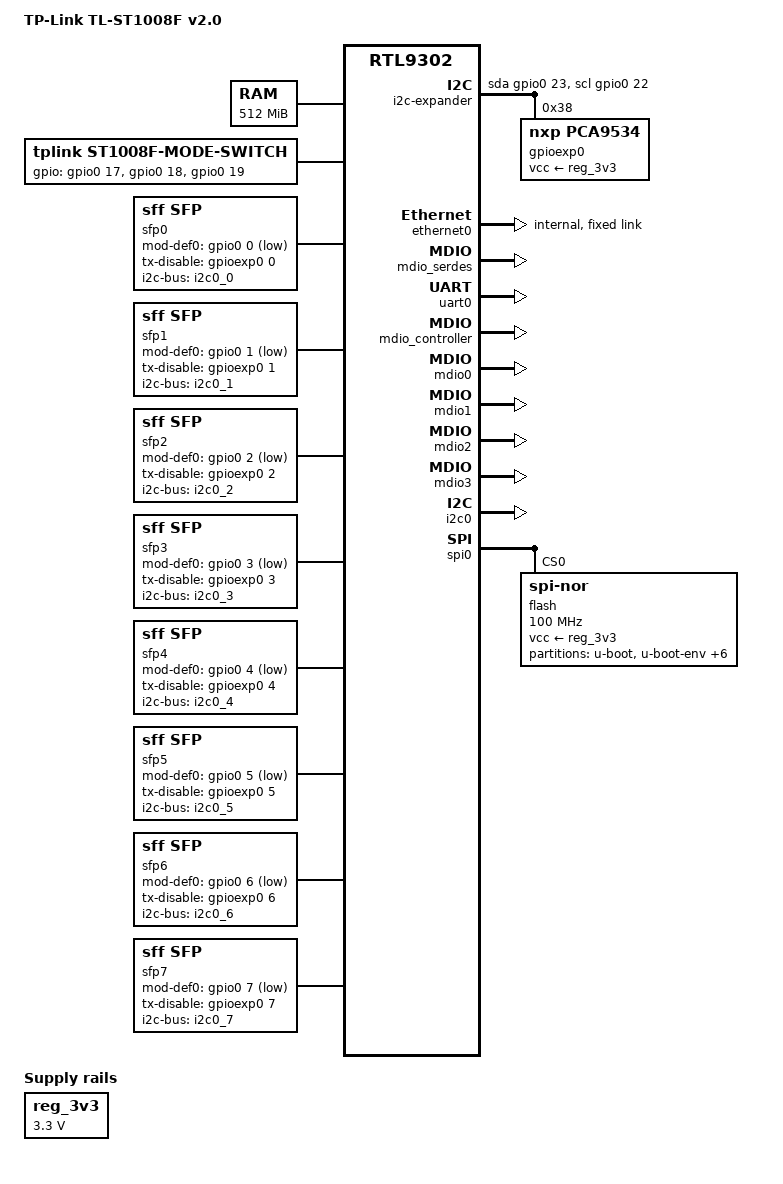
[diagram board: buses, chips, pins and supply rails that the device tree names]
// SPDX-License-Identifier: GPL-2.0-or-later OR BSD-2-Clause
/*
 * TP-Link TL-ST1008F v2.0 (RTL9303) on mainline rtl930x.dtsi (Linux v7.3).
 * Board facts + switch/NIC/PCS/SerDes nodes from OpenWrt rtl9303_tplink_tl-st1008f-v2.dts +
 * rtl930x.dtsi; they bind to the forward-ported OpenWrt drivers (openwrt/patches/300-08..10,
 * docs/MAINLINE-PORT.md). Cage N = lanN = switch port in SWITCH_PORT_SFP below.
 */
/dts-v1/;

#include "rtl930x.dtsi"

#include <dt-bindings/gpio/gpio.h>

/* OpenWrt dts/macros.dtsi LED set bits */
#define RTL93XX_LED_SET_10G	(1 << 0)
#define RTL93XX_LED_SET_2P5G	(1 << 3)
#define RTL93XX_LED_SET_1G	(1 << 5)
#define RTL93XX_LED_SET_100M	(1 << 7)
#define RTL93XX_LED_SET_10M	(1 << 8)
#define RTL93XX_LED_SET_LINK	(1 << 9)
#define RTL93XX_LED_SET_ACT	(1 << 11)

/* u = unit address (hex), p = switch port, l = lanN, s = SerDes, g = sfpN (OpenWrt SWITCH_PORT_SFP) */
#define SWITCH_PORT_SFP(u, p, l, s, g)			\
	port##p: port@##u {				\
		reg = <##p>;				\
		label = #l;				\
		led-set = <0>;				\
		pcs-handle = <&serdes##s 0>;		\
		phy-mode = "1000base-x";		\
		sfp = <&sfp##g>;			\
		managed = "in-band-status";		\
	};

/ {
	compatible = "tplink,tl-st1008f-v2", "realtek,rtl9302-soc";
	model = "TP-Link TL-ST1008F v2.0";

	/* board 3V3 rail (always on); named so spi-nor/pca953x get a real vcc-supply */
	reg_3v3: regulator-3v3 {
		compatible = "regulator-fixed";
		regulator-name = "3v3";
		regulator-min-microvolt = <3300000>;
		regulator-max-microvolt = <3300000>;
		regulator-always-on;
	};

	/* DRAM 256-512 MiB is reached via OCP zone 3 at bus 0x20000000 (OpenWrt 300-02 remap,
	 * HIGHMEM); a HIGHMEM=n kernel drops the second range (#27). */
	memory@0 {
		device_type = "memory";
		reg = <0x00000000 0x10000000>,
		      <0x20000000 0x10000000>;
	};

	/* our U-Boot's boot-attempt record (bootsel.c); st1008f-bootok clears it via /dev/mem (#73) */
	reserved-memory {
		#address-cells = <1>;
		#size-cells = <1>;
		ranges;

		bootrec@e000000 {
			reg = <0x0e000000 0x1000>;
			no-map;
		};
	};

	/* 64 KiB on-chip SRAM, bus address (OpenWrt 838x/839x dtsi use the KSEG0 VA 0x9f000000).
	 * Mapped by the PLR, re-mapped after the highmem remap (300-21). Whole-device gen_pool,
	 * no children: gen_pool_get(dev, NULL) as OpenWrt clk-rtl83xx. no-memory-wc: plain
	 * uncached (KSEG1); the 34Kc ioremap_wc would be uncached-accelerated (#103). */
	sram0: sram@1f000000 {
		compatible = "mmio-sram";
		reg = <0x1f000000 0x10000>;
		#address-cells = <1>;
		#size-cells = <1>;
		ranges = <0 0x1f000000 0x10000>;
		no-memory-wc;
	};

	chosen {
		stdout-path = "serial0:115200n8";
		bootargs = "earlycon";
	};

	/* M1/M2/M3 switch, read raw like stock rtk.ko (openwrt/patches/300-06, #64).
	 * Replaces OpenWrt's gpio-keys on the same pins (one owner per pin).
	 * Children are cage@N, never port@N: rtl83xx walks every "port" node in the tree. */
	mode-switch {
		compatible = "tplink,st1008f-mode-switch";
		gpios = <&gpio0 17 GPIO_ACTIVE_HIGH>, <&gpio0 18 GPIO_ACTIVE_HIGH>,
			<&gpio0 19 GPIO_ACTIVE_HIGH>;
		#address-cells = <1>;
		#size-cells = <0>;

		cage@0 {
			reg = <0>;
			sfp = <&sfp0>;
		};
		cage@1 {
			reg = <1>;
			sfp = <&sfp1>;
		};
		cage@2 {
			reg = <2>;
			sfp = <&sfp2>;
		};
		cage@3 {
			reg = <3>;
			sfp = <&sfp3>;
		};
		cage@4 {
			reg = <4>;
			sfp = <&sfp4>;
		};
		cage@5 {
			reg = <5>;
			sfp = <&sfp5>;
		};
		cage@6 {
			reg = <6>;
			sfp = <&sfp6>;
		};
		cage@7 {
			reg = <7>;
			sfp = <&sfp7>;
		};
	};

	/* TX-disable expander; SCL = GPIO22, SDA = GPIO23. */
	i2c-expander {
		compatible = "i2c-gpio";
		#address-cells = <1>;
		#size-cells = <0>;
		i2c-gpio,delay-us = <2>;
		scl-gpios = <&gpio0 22 (GPIO_ACTIVE_HIGH | GPIO_OPEN_DRAIN)>;
		sda-gpios = <&gpio0 23 (GPIO_ACTIVE_HIGH | GPIO_OPEN_DRAIN)>;

		gpioexp0: gpio@38 {
			compatible = "nxp,pca9534";
			vcc-supply = <&reg_3v3>;
			reg = <0x38>;
			gpio-controller;
			#gpio-cells = <2>;
		};
	};

	/* Cage N+1: MOD-DEF0 = GPIO N (active-low), TX-disable = expander pin N (active-high).
	 * Power: every cage 2000 mW (SFF-8472 max level); OpenWrt's 2.9/1.5/2.0 W split is copied, not measured (#30). */
	sfp0: sfp-p1 {
		compatible = "sff,sfp";
		i2c-bus = <&i2c0_0>;
		mod-def0-gpios = <&gpio0 0 GPIO_ACTIVE_LOW>;
		tx-disable-gpios = <&gpioexp0 0 GPIO_ACTIVE_HIGH>;
		maximum-power-milliwatt = <2000>;
	};

	sfp1: sfp-p2 {
		compatible = "sff,sfp";
		i2c-bus = <&i2c0_1>;
		mod-def0-gpios = <&gpio0 1 GPIO_ACTIVE_LOW>;
		tx-disable-gpios = <&gpioexp0 1 GPIO_ACTIVE_HIGH>;
		maximum-power-milliwatt = <2000>;
	};

	sfp2: sfp-p3 {
		compatible = "sff,sfp";
		i2c-bus = <&i2c0_2>;
		mod-def0-gpios = <&gpio0 2 GPIO_ACTIVE_LOW>;
		tx-disable-gpios = <&gpioexp0 2 GPIO_ACTIVE_HIGH>;
		maximum-power-milliwatt = <2000>;
	};

	sfp3: sfp-p4 {
		compatible = "sff,sfp";
		i2c-bus = <&i2c0_3>;
		mod-def0-gpios = <&gpio0 3 GPIO_ACTIVE_LOW>;
		tx-disable-gpios = <&gpioexp0 3 GPIO_ACTIVE_HIGH>;
		maximum-power-milliwatt = <2000>;
	};

	sfp4: sfp-p5 {
		compatible = "sff,sfp";
		i2c-bus = <&i2c0_4>;
		mod-def0-gpios = <&gpio0 4 GPIO_ACTIVE_LOW>;
		tx-disable-gpios = <&gpioexp0 4 GPIO_ACTIVE_HIGH>;
		maximum-power-milliwatt = <2000>;
	};

	sfp5: sfp-p6 {
		compatible = "sff,sfp";
		i2c-bus = <&i2c0_5>;
		mod-def0-gpios = <&gpio0 5 GPIO_ACTIVE_LOW>;
		tx-disable-gpios = <&gpioexp0 5 GPIO_ACTIVE_HIGH>;
		maximum-power-milliwatt = <2000>;
	};

	sfp6: sfp-p7 {
		compatible = "sff,sfp";
		i2c-bus = <&i2c0_6>;
		mod-def0-gpios = <&gpio0 6 GPIO_ACTIVE_LOW>;
		tx-disable-gpios = <&gpioexp0 6 GPIO_ACTIVE_HIGH>;
		maximum-power-milliwatt = <2000>;
	};

	sfp7: sfp-p8 {
		compatible = "sff,sfp";
		i2c-bus = <&i2c0_7>;
		mod-def0-gpios = <&gpio0 7 GPIO_ACTIVE_LOW>;
		tx-disable-gpios = <&gpioexp0 7 GPIO_ACTIVE_HIGH>;
		maximum-power-milliwatt = <2000>;
	};

	/* GPIO21: stock rtk.ko switch_reset() drives it low = board reset.
	 * gpio-wdt probe drives it low too -> instant reset on 7.3. Disabled until the line is understood (#18). */
	watchdog-ext {
		compatible = "linux,wdt-gpio";
		gpios = <&gpio0 21 GPIO_ACTIVE_HIGH>;
		hw_algo = "toggle";
		hw_margin_ms = <1200>;
		always-running;
		status = "disabled";
	};
};

/* SMP (#73, #16): intc outputs as OpenWrt rtl930x.dtsi. Mainline routes all to output 0 = IP2, which
 * vsmp_init_secondary() leaves masked on VPE1 (only IP0/1/6/7) -> CPU1 timer never ticks, boot hangs.
 * Per-CPU timers on output 4 = IP6; IP7 (CP0 timer/perf) is not claimed. Cell 2 = output index. */
&intc {
	#interrupt-cells = <2>;
	interrupts = <2>, <3>, <4>, <5>, <6>;
};

&switch0 {
	interrupts = <23 2>, <24 3>;
};

&timer0 {
	interrupts = <7 4>, <8 4>, <9 4>, <10 4>, <11 4>;
};

&watchdog0 {
	interrupts = <5 4>, <6 4>;
};

&gpio0 {
	interrupts = <13 1>;
};

&snand {
	interrupts = <19 2>;
};

&uart0 {
	interrupts = <30 1>;
	status = "okay";
};

&uart1 {
	interrupts = <31 0>;
};

/* SPI_CTRL1 pinmux, as OpenWrt rtl930x.dtsi (mainline dtsi lacks it). Stock U-Boot muxes GPIO3-5
 * (cage 4-6 MOD-DEF0) to the unused switch-core SPI master: empty cages read "present" (#29). */
/ {
	pinmux@1b0003a0 {
		compatible = "pinctrl-single";
		reg = <0x1b0003a0 0x4>;
		pinctrl-single,bit-per-mux;
		pinctrl-single,register-width = <32>;
		pinctrl-single,function-mask = <0x1>;
		#pinctrl-cells = <2>;

		/* GPIO3-5 = GPIO */
		pinmux_disable_spi0: disable-spi0 {
			pinctrl-single,bits = <0x0 0x0 0x2000>;
		};
		/* GPIO6 = GPIO (cage 7 MOD-DEF0) */
		pinmux_disable_spi0_cs1: disable-spi-cs1 {
			pinctrl-single,bits = <0x0 0x0 0x800>;
		};
		/* GPIO7 = GPIO (cage 8 MOD-DEF0) */
		pinmux_disable_spi0_cs0: disable-spi-cs0 {
			pinctrl-single,bits = <0x0 0x0 0x400>;
		};
	};
};

/* GPIO0-7 = cage MOD-DEF0: take them back from the SPI master before any sfp probes (#29) */
&gpio0 {
	pinctrl-names = "default";
	pinctrl-0 = <&pinmux_disable_spi0>, <&pinmux_disable_spi0_cs1>, <&pinmux_disable_spi0_cs0>;
};

/* Port LED pattern, read by the rtl83xx DSA driver (led-set per port) */
/ {
	led_set {
		compatible = "realtek,rtl9300-leds";
		active-high;

		led_set0 = <(RTL93XX_LED_SET_1G | RTL93XX_LED_SET_100M | RTL93XX_LED_SET_10M |
			     RTL93XX_LED_SET_LINK | RTL93XX_LED_SET_ACT)
			    (RTL93XX_LED_SET_2P5G | RTL93XX_LED_SET_LINK | RTL93XX_LED_SET_ACT)
			    (RTL93XX_LED_SET_10G | RTL93XX_LED_SET_LINK | RTL93XX_LED_SET_ACT)>;
	};

	thermal-zones {
		cpu-thermal {
			polling-delay-passive = <1000>;
			polling-delay = <1000>;
			/* Realtek SDK dal_longan_switch_thermalTemp_get: TEMP_OUT * 1.29 - 10 degC (#13) */
			coefficients = <1290 (-10000)>;
			thermal-sensors = <&soc_thermal>;
			trips {
				critical {
					temperature = <105000>;
					hysteresis = <2000>;
					type = "critical";
				};
			};
		};
	};
};

/* rtl9301-switch + otto-switch: rtl83xx DSA driver; otto-* children: OpenWrt drivers (300-09/10) */
&switch0 {
	compatible = "realtek,rtl9303-switch", "realtek,rtl9301-switch", "realtek,otto-switch",
		     "syscon", "simple-mfd";

	ethernet0: ethernet {
		compatible = "realtek,rtl9301-eth";
		interrupt-parent = <&intc>;
		interrupts = <24 3>;
		phy-mode = "internal";
		sram = <&sram0>;	/* rings here with rtl838x_eth.sram_rings=1 (300-25, #103) */
		nvmem-cells = <&macaddr_uboot 0>;
		nvmem-cell-names = "mac-address";

		fixed-link {
			speed = <1000>;
			full-duplex;
		};
	};

	mdio_serdes: mdio-serdes {
		compatible = "realtek,rtl9301-serdes-mdio";
	};

	pcs {
		compatible = "realtek,rtl9301-pcs", "realtek,otto-pcs";
		#address-cells = <1>;
		#size-cells = <0>;
		mdio-parent-bus = <&mdio_serdes>;

		serdes0: serdes@0 { reg = <0>; #pcs-cells = <1>; };
		serdes1: serdes@1 { reg = <1>; #pcs-cells = <1>; };
		serdes2: serdes@2 { reg = <2>; #pcs-cells = <1>; };
		serdes3: serdes@3 { reg = <3>; #pcs-cells = <1>; };
		serdes4: serdes@4 { reg = <4>; #pcs-cells = <1>; };
		serdes5: serdes@5 { reg = <5>; #pcs-cells = <1>; };
		serdes6: serdes@6 { reg = <6>; #pcs-cells = <1>; };
		serdes7: serdes@7 { reg = <7>; #pcs-cells = <1>; };
		serdes8: serdes@8 { reg = <8>; #pcs-cells = <1>; };
		serdes9: serdes@9 { reg = <9>; #pcs-cells = <1>; };
		serdes10: serdes@a { reg = <10>; #pcs-cells = <1>; };
		serdes11: serdes@b { reg = <11>; #pcs-cells = <1>; };
	};

	table {
		compatible = "realtek,rtl9301-table", "realtek,otto-table";
	};

	soc_thermal: thermal {
		compatible = "realtek,rtl9300-thermal";
		#thermal-sensor-cells = <0>;
	};

	ethernet-ports {
		#address-cells = <1>;
		#size-cells = <0>;

		SWITCH_PORT_SFP(0, 0, lan1, 2, 0)
		SWITCH_PORT_SFP(8, 8, lan2, 3, 1)
		SWITCH_PORT_SFP(10, 16, lan3, 4, 2)
		SWITCH_PORT_SFP(14, 20, lan4, 5, 3)
		SWITCH_PORT_SFP(18, 24, lan5, 6, 4)
		SWITCH_PORT_SFP(19, 25, lan6, 7, 5)
		SWITCH_PORT_SFP(1a, 26, lan7, 8, 6)
		SWITCH_PORT_SFP(1b, 27, lan8, 9, 7)

		port@1c {
			reg = <28>;
			ethernet = <&ethernet0>;
			phy-mode = "internal";

			fixed-link {
				speed = <1000>;
				full-duplex;
			};
		};
	};
};

/* No MDIO PHYs on this board (SFP only); the DSA driver still waits for every bus to register. */
&mdio_controller {
	compatible = "realtek,rtl9301-mdio", "realtek,otto-mdio";
	status = "okay";
};

&mdio0 {
	status = "okay";
};

&mdio1 {
	status = "okay";
};

&mdio2 {
	status = "okay";
};

&mdio3 {
	status = "okay";
};

/* SCL0 = GPIO8, SDA0-7 = GPIO9-16, one SDA per cage. */
&i2c0 {
	compatible = "realtek,rtl9303-i2c", "realtek,rtl9301-i2c";
	realtek,scl = <0>;
	status = "okay";

	i2c0_0: i2c@0 {
		reg = <0>;
	};
	i2c0_1: i2c@1 {
		reg = <1>;
	};
	i2c0_2: i2c@2 {
		reg = <2>;
	};
	i2c0_3: i2c@3 {
		reg = <3>;
	};
	i2c0_4: i2c@4 {
		reg = <4>;
	};
	i2c0_5: i2c@5 {
		reg = <5>;
	};
	i2c0_6: i2c@6 {
		reg = <6>;
	};
	i2c0_7: i2c@7 {
		reg = <7>;
	};
};

/* Flash read window 0x14000000 (32 MiB) for spi0 dirmap reads (openwrt/patches/300-07, #61) */
&soc {
	ranges = <0x0 0x18000000 0x20000>, <0x14000000 0x14000000 0x2000000>;
};

&spi0 {
	reg = <0x1200 0x100>, <0x14000000 0x2000000>;
	reg-names = "regs", "dirmap";
	status = "okay";

	flash@0 {
		compatible = "jedec,spi-nor";
		vcc-supply = <&reg_3v3>;
		reg = <0>;
		spi-max-frequency = <100000000>;

		/* all read-only: no flash writes from this kernel (CLAUDE.md hazards) */
		partitions {
			compatible = "fixed-partitions";
			#address-cells = <1>;
			#size-cells = <1>;

			partition@0 {
				label = "u-boot";
				reg = <0x0 0xe0000>;
				read-only;
			};

			partition@e0000 {
				label = "u-boot-env";
				reg = <0xe0000 0x10000>;
				read-only;

				nvmem-layout {
					compatible = "u-boot,env";

					macaddr_uboot: ethaddr {
						#nvmem-cell-cells = <1>;
					};
				};
			};

			partition@f0000 {
				label = "u-boot-env2";
				reg = <0xf0000 0x10000>;
				read-only;
			};

			partition@100000 {
				label = "jffs2-cfg";
				reg = <0x100000 0x100000>;
				read-only;
			};

			partition@200000 {
				label = "jffs2-log";
				reg = <0x200000 0xf0000>;
				read-only;
			};

			/* A/B layout as the OpenWrt DTS (#117); read-only here */
			partition@2f0000 {
				label = "bootstate";
				reg = <0x2f0000 0x10000>;
				read-only;
			};

			partition@300000 {
				label = "firmware_a";
				reg = <0x300000 0xe80000>;
				read-only;
			};

			partition@1180000 {
				label = "firmware_b";
				reg = <0x1180000 0xe80000>;
				read-only;
			};
		};
	};
};
